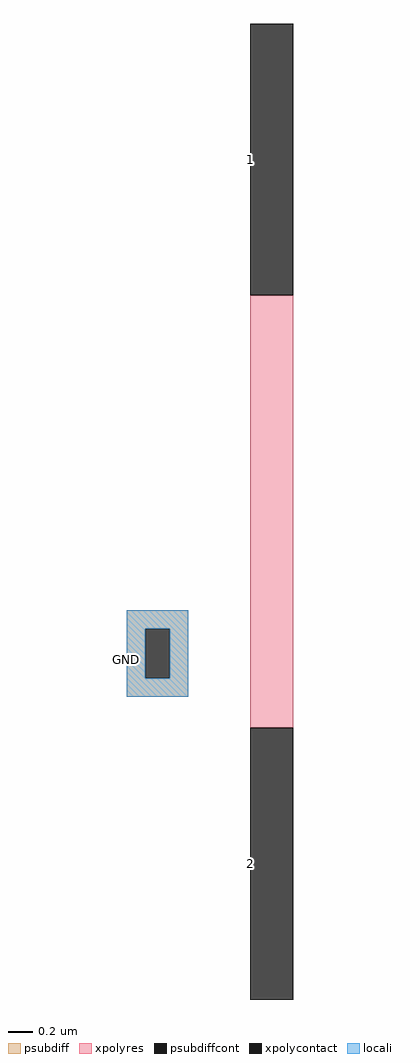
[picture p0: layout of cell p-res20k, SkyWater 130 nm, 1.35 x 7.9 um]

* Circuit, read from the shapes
.subckt p-res20k 1 2 GND
XR1 1 2 GND sky130_fd_pr__res_xhigh_po w=0.35 l=3.5
.ends

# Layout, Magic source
magic
tech sky130A
<< psubdiff >>
rect -100 80 -50 95
rect -100 40 -85 80
rect -65 40 -50 80
rect -100 25 -50 40
<< psubdiffcont >>
rect -85 40 -65 80
<< xpolycontact >>
rect 0 350 35 570
rect 0 -220 35 0
<< xpolyres >>
rect 0 0 35 350
<< locali >>
rect -100 80 -50 95
rect -100 40 -85 80
rect -65 40 -50 80
rect -100 25 -50 40
<< labels >>
rlabel locali -100 55 -100 55 7 GND
rlabel xpolycontact 0 460 0 460 7 1
rlabel xpolycontact 0 -110 0 -110 7 2
<< end >>
